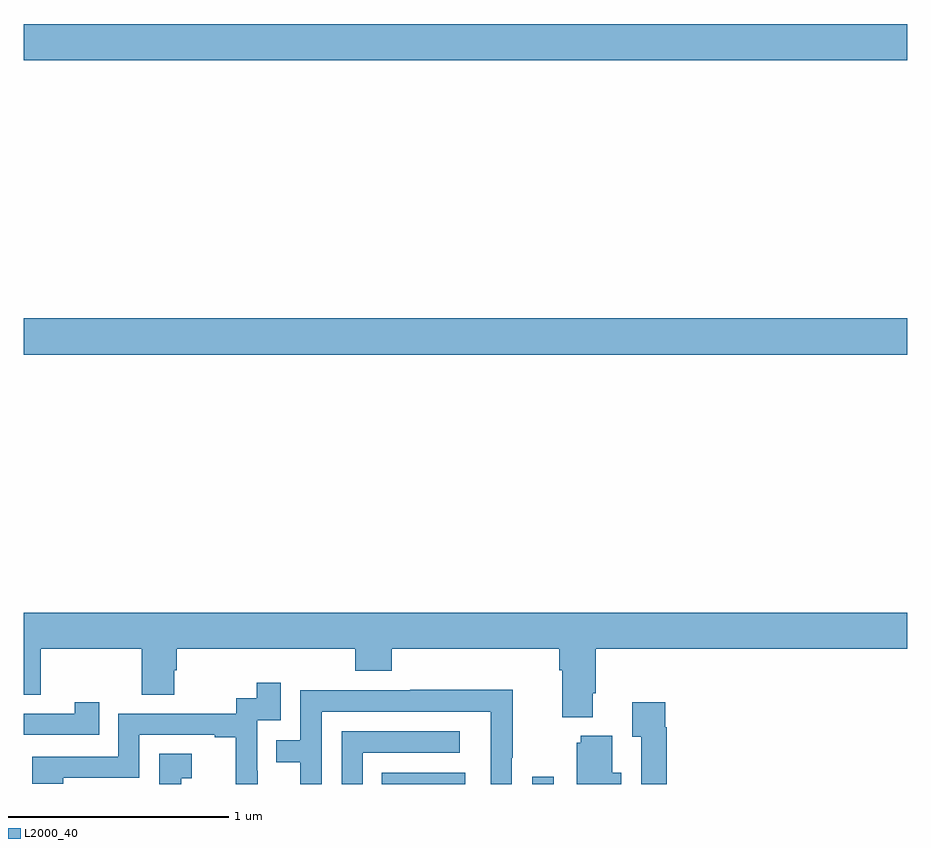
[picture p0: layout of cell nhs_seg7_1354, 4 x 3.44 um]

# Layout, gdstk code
import gdstk
lib = gdstk.Library(unit=1e-6, precision=1e-09)
def R(c, l, rs):  # rectangles x0, y0, x1, y1
    for r in rs: c.add(gdstk.rectangle(r[:2], r[2:], *l))
def P(c, l, *ps):  # polygons
    for p in ps: c.add(gdstk.Polygon(p, *l))
L2000_40 = (2000, 40)

nhs_seg7_1354 = lib.new_cell('nhs_seg7_1354')
R(nhs_seg7_1354, L2000_40, [(206.62,1004,206.998,1004.05), (207.303,1004,207.399,1004.032), (205,1005.944,209,1006.108), (205,1007.276,209,1007.44)])
P(nhs_seg7_1354, L2000_40, [(207.577,1004.41),(207.59,1004.41),(207.59,1004.612),(209,1004.612),(209,1004.776),(205,1004.776),(205,1004.404),(205.077,1004.404),(205.077,1004.612),(205.534,1004.612),(205.534,1004.404),(205.681,1004.404),(205.681,1004.514),(205.694,1004.514),(205.694,1004.612),(206.501,1004.612),(206.501,1004.513),(206.666,1004.513),(206.666,1004.612),(207.425,1004.612),(207.425,1004.516),(207.437,1004.516),(207.437,1004.303),(207.577,1004.303)],
  [(206.06,1004.06),(206.058,1004.06),(206.058,1004.289),(206.163,1004.289),(206.163,1004.458),(206.055,1004.458),(206.055,1004.388),(205.962,1004.388),(205.962,1004.319),(205.428,1004.319),(205.428,1004.124),(205.039,1004.124),(205.039,1004.001),(205.179,1004.001),(205.179,1004.028),(205.524,1004.028),(205.524,1004.223),(205.865,1004.223),(205.865,1004.211),(205.961,1004.211),(205.961,1004),(206.06,1004)],
  [(206.349,1004.328),(207.114,1004.328),(207.114,1004),(207.21,1004),(207.21,1004.119),(207.213,1004.119),(207.213,1004.426),(206.749,1004.426),(206.749,1004.424),(206.253,1004.424),(206.253,1004.199),(206.143,1004.199),(206.143,1004.098),(206.253,1004.098),(206.253,1004),(206.349,1004)],
  [(205.343,1004.371),(205.232,1004.371),(205.232,1004.319),(205,1004.319),(205,1004.223),(205.343,1004.223)],
  [(207.911,1004.258),(207.904,1004.258),(207.904,1004.371),(207.755,1004.371),(207.755,1004.215),(207.795,1004.215),(207.795,1004),(207.911,1004)],
  [(206.535,1004.142),(206.974,1004.142),(206.974,1004.238),(206.439,1004.238),(206.439,1004),(206.535,1004)],
  [(207.706,1004.05),(207.664,1004.05),(207.664,1004.218),(207.521,1004.218),(207.521,1004.187),(207.503,1004.187),(207.503,1004),(207.706,1004)],
  [(205.713,1004.027),(205.762,1004.027),(205.762,1004.137),(205.614,1004.137),(205.614,1004),(205.713,1004)])

lib.write_gds('nhs_seg7_1354.gds')
